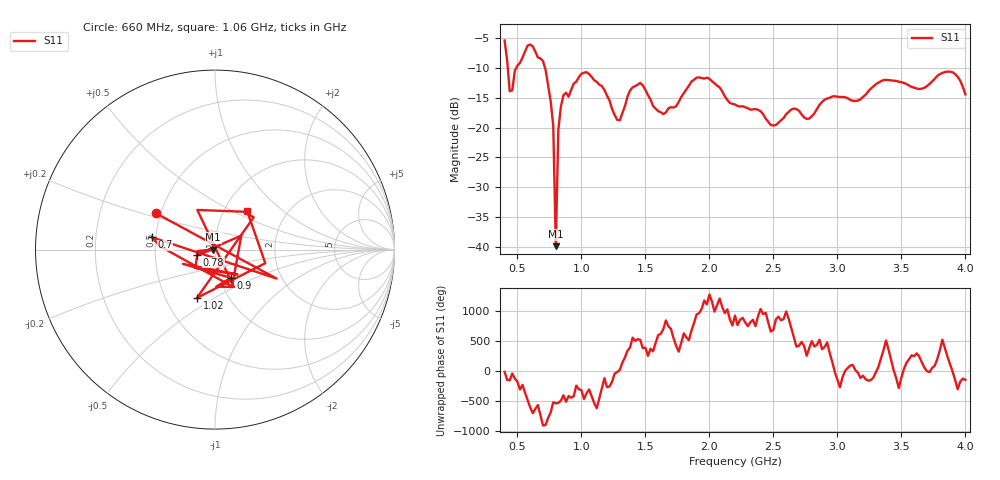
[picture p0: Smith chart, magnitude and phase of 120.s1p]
!Created with skrf (http://scikit-rf.org).
# Hz S RI R 50.0
!freq ReS11 ImS11
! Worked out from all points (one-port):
!   181 points, 400 MHz to 4 GHz, reference 50 ohm
!   lowest |S11| = -39.8 dB at 800 MHz (marker M1), VSWR 1.02, Z = 49 + j0.0233 ohm
!   |S11| at or under -10 dB: 424.6 MHz to 491.7 MHz (67.07 MHz wide, 14.6 % of centre); 715.3 MHz to end of sweep
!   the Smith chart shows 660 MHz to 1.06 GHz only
!   S11 on the Smith chart (normalised r, x): 660 MHz: 0.47, +0.22; 700 MHz: 0.48, +0.08; 780 MHz: 0.82, -0.05; 900 MHz: 1.13, -0.37; 1.02 GHz: 0.71, -0.42; 1.06 GHz: 1.28, +0.60
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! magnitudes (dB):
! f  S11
! 400 MHz  -5.4
! 440 MHz  -13.9
! 580 MHz  -6.3
! 660 MHz  -8.3
! 700 MHz  -8.9
! 780 MHz  -19.7
! 800 MHz  -39.8
! 820 MHz  -20.3
! 860 MHz  -14.6
! 900 MHz  -14.8
! 1.02 GHz  -10.8
! 1.06 GHz  -11.1
! 1.3 GHz  -18.8
! 1.38 GHz  -13.8
! 1.46 GHz  -12.5
! 1.64 GHz  -17.8
! 1.76 GHz  -15.7
! 1.98 GHz  -11.6
! 2.2 GHz  -16.1
! 2.5 GHz  -19.7
! 2.66 GHz  -16.8
! 2.78 GHz  -18.5
! 2.9 GHz  -15.3
! 3.1 GHz  -15.4
! 3.36 GHz  -12.1
! 3.56 GHz  -13.0
! 3.88 GHz  -10.7
! 4 GHz  -14.5
